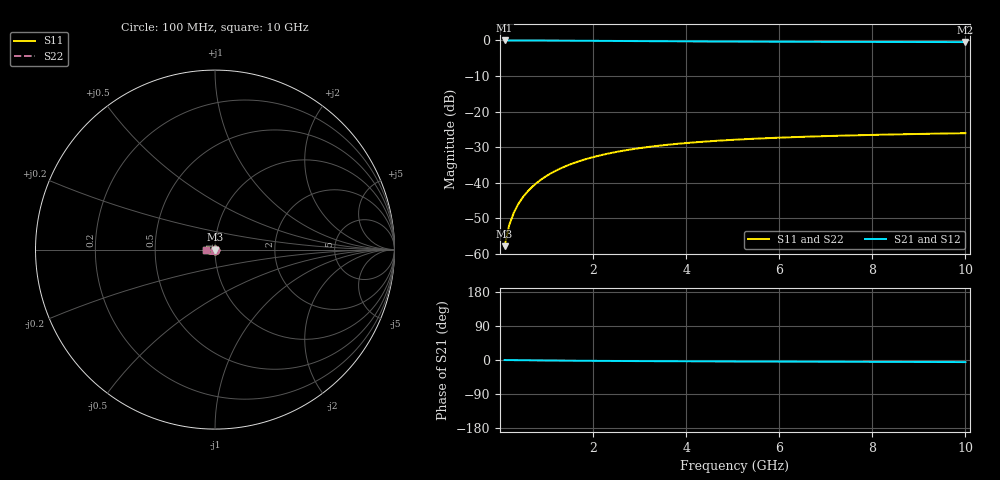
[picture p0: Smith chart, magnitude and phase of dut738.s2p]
! Touchstone file exported from HFSS 2024.1.0
!  File:  C:/UserFiles/LocalFiles/RDL_TSV_Batchsim/temp_TSV1_738_1779870082.aedt
!  Generated:  04:26:06 PM May 27, 2026
!  Design:  TSV1
!  Project:  temp_TSV1_738_1779870082
!  Setup:  Setup1
!  Solution:  Sweep
! Variables:
!  dtsv = 9.47um
!  hbump = 3um
!  htsv = 87.37um
!  lrdl = 252.1521522um
!  p = 40
!  p1 = 44.7um
!  t = 500um
!  trdl = 3um
!  wrdl = 24.89489489um
# GHz S MA R 50.000000
! Terminal data exported
! Port[1] = TSV22_T1
! Port[2] = TSV22_T2
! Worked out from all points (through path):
!   100 points, 100 MHz to 10 GHz, reference 50 ohm
!   highest |S21| = 0.00 dB at 100 MHz (marker M1); lowest = -0.5 dB at 10 GHz (marker M2)
!   lowest |S11| = -57.8 dB at 100 MHz (marker M3), VSWR 1.00, Z = 50 - j0.128 ohm
!   |S11| at or under -10 dB: start of sweep to end of sweep
!   |S22| runs from -57.8 to -26.0 dB; largest |S21 - S12| = 5e-15
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0.1  0.001288 -83.9  0.9998 -0.1  0.9998 -0.1  0.001288 -83.9
! Gamma 0 0 0 0
! Port Impedance 50 0 50 0
0.2  0.002562 -89.2  0.9997 -0.3  0.9997 -0.3  0.002562 -89.2
0.3  0.003839 -92.1  0.9995 -0.4  0.9995 -0.4  0.003839 -92.1
0.4  0.005114 -94.3  0.9992 -0.5  0.9992 -0.5  0.005114 -94.3
0.5  0.00638 -96.4  0.9988 -0.6  0.9988 -0.6  0.00638 -96.4
0.6  0.007636 -98.3  0.9984 -0.8  0.9984 -0.8  0.007636 -98.3
0.7  0.008876 -100.1  0.998 -0.9  0.998 -0.9  0.008876 -100.1
0.8  0.0101 -101.8  0.9974 -1.0  0.9974 -1.0  0.0101 -101.8
0.9  0.0113 -103.5  0.9969 -1.1  0.9969 -1.1  0.0113 -103.5
1.1  0.01365 -106.8  0.9956 -1.3  0.9956 -1.3  0.01365 -106.8
1.4  0.01699 -111.5  0.9933 -1.6  0.9933 -1.6  0.01699 -111.5
1.6  0.01908 -114.5  0.9916 -1.8  0.9916 -1.8  0.01908 -114.5
1.8  0.02107 -117.4  0.9899 -2.0  0.9899 -2.0  0.02107 -117.4
2.1  0.02383 -121.5  0.9872 -2.3  0.9872 -2.3  0.02383 -121.5
2.5  0.02714 -126.5  0.9835 -2.6  0.9835 -2.6  0.02714 -126.5
2.9  0.03003 -131.2  0.9799 -2.8  0.9799 -2.8  0.03003 -131.2
3.4  0.03313 -136.4  0.9757 -3.1  0.9757 -3.1  0.03313 -136.4
4.2  0.0371 -143.7  0.9698 -3.5  0.9698 -3.5  0.0371 -143.7
5.1  0.04049 -150.7  0.9643 -3.9  0.9643 -3.9  0.04049 -150.7
6.7  0.0447 -160.6  0.9571 -4.4  0.9571 -4.4  0.0447 -160.6
8.4  0.04773 -168.9  0.952 -5.0  0.952 -5.0  0.04773 -168.9
10  0.04985 -175.5  0.9486 -5.5  0.9486 -5.5  0.04985 -175.5
